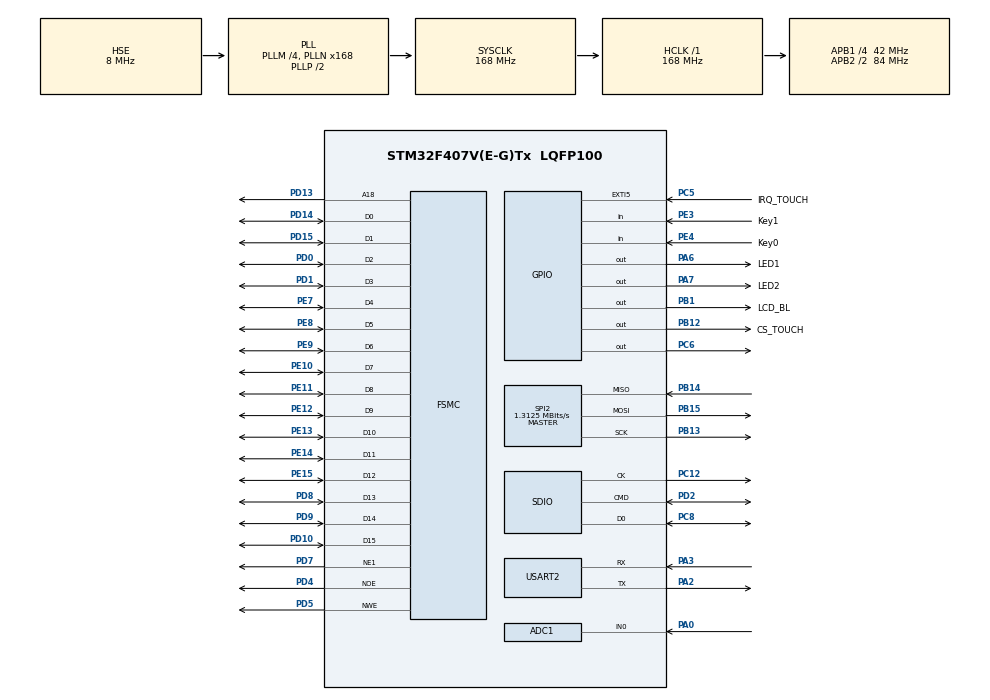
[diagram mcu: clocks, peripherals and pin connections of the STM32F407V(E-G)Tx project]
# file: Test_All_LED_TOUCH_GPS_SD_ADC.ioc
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ADC1.Channel-4\#ChannelRegularConversion=ADC_CHANNEL_0
ADC1.Channel-5\#ChannelRegularConversion=ADC_CHANNEL_TEMPSENSOR
ADC1.ContinuousConvMode=ENABLE
ADC1.NbrOfConversion=2
ADC1.NbrOfConversionFlag=1
ADC1.Rank-4\#ChannelRegularConversion=1
ADC1.Rank-5\#ChannelRegularConversion=2
ADC1.SamplingTime-4\#ChannelRegularConversion=ADC_SAMPLETIME_84CYCLES
ADC1.SamplingTime-5\#ChannelRegularConversion=ADC_SAMPLETIME_84CYCLES
ADC1.master=1
Dma.Request0=SDIO
Dma.SDIO.0.Direction=DMA_PERIPH_TO_MEMORY
Dma.SDIO.0.FIFOMode=DMA_FIFOMODE_ENABLE
Dma.SDIO.0.FIFOThreshold=DMA_FIFO_THRESHOLD_FULL
Dma.SDIO.0.Instance=DMA2_Stream3
Dma.SDIO.0.MemBurst=DMA_MBURST_INC4
Dma.SDIO.0.MemDataAlignment=DMA_MDATAALIGN_WORD
Dma.SDIO.0.MemInc=DMA_MINC_DISABLE
Dma.SDIO.0.Mode=DMA_PFCTRL
Dma.SDIO.0.PeriphBurst=DMA_PBURST_INC4
Dma.SDIO.0.PeriphDataAlignment=DMA_PDATAALIGN_WORD
Dma.SDIO.0.PeriphInc=DMA_PINC_DISABLE
Dma.SDIO.0.Priority=DMA_PRIORITY_HIGH
FATFS._MAX_SS=4096
FSMC.AddressSetupTime1=1
FSMC.BusTurnAroundDuration1=0
FSMC.DataSetupTime1=5
Mcu.Family=STM32F4
Mcu.Name=STM32F407V(E-G)Tx
Mcu.Package=LQFP100
NVIC.DMA2_Stream3_IRQn=true\:0\:0\:false\:false\:true\:false\:true\:true
NVIC.EXTI9_5_IRQn=true\:1\:0\:true\:false\:true\:true\:true\:true
NVIC.PriorityGroup=NVIC_PRIORITYGROUP_4
NVIC.USART2_IRQn=true\:5\:0\:true\:false\:true\:true\:true\:true
PA0-WKUP.Signal=ADCx_IN0
PA13.Mode=Serial_Wire
PA13.Signal=SYS_JTMS-SWDIO
PA14.Mode=Serial_Wire
PA14.Signal=SYS_JTCK-SWCLK
PA2.Mode=Asynchronous
PA2.Signal=USART2_TX
PA3.Mode=Asynchronous
PA3.Signal=USART2_RX
PA6.GPIO_Label=LED1
PA6.GPIO_PuPd=GPIO_PULLUP
PA6.GPIO_Speed=GPIO_SPEED_FREQ_MEDIUM
PA6.PinState=GPIO_PIN_SET
PA6.Signal=GPIO_Output
PA7.GPIO_Label=LED2
PA7.GPIO_PuPd=GPIO_PULLUP
PA7.GPIO_Speed=GPIO_SPEED_FREQ_MEDIUM
PA7.PinState=GPIO_PIN_SET
PA7.Signal=GPIO_Output
PB1.GPIO_Label=LCD_BL
PB1.GPIO_PuPd=GPIO_PULLUP
PB1.Signal=GPIO_Output
PB12.GPIO_Label=CS_TOUCH
PB12.GPIO_PuPd=GPIO_PULLUP
PB12.GPIO_Speed=GPIO_SPEED_FREQ_MEDIUM
PB12.PinState=GPIO_PIN_SET
PB12.Signal=GPIO_Output
PB13.Mode=Full_Duplex_Master
PB13.Signal=SPI2_SCK
PB14.Mode=Full_Duplex_Master
PB14.Signal=SPI2_MISO
PB15.Mode=Full_Duplex_Master
PB15.Signal=SPI2_MOSI
PC10.GPIO_PuPd=GPIO_PULLUP
PC10.Signal=SDIO_D2
PC11.GPIO_PuPd=GPIO_PULLUP
PC11.Signal=SDIO_D3
PC12.Mode=SD_1_bit
PC12.Signal=SDIO_CK
PC14-OSC32_IN.Mode=LSE-External-Oscillator
PC14-OSC32_IN.Signal=RCC_OSC32_IN
PC15-OSC32_OUT.Mode=LSE-External-Oscillator
PC15-OSC32_OUT.Signal=RCC_OSC32_OUT
PC5.GPIO_Label=IRQ_TOUCH
PC5.GPIO_ModeDefaultEXTI=GPIO_MODE_IT_FALLING
PC5.GPIO_PuPd=GPIO_PULLUP
PC5.Signal=GPXTI5
PC6.GPIO_PuPd=GPIO_PULLUP
PC6.GPIO_Speed=GPIO_SPEED_FREQ_MEDIUM
PC6.PinState=GPIO_PIN_SET
PC6.Signal=GPIO_Output
PC8.GPIO_PuPd=GPIO_PULLUP
PC8.Mode=SD_1_bit
PC8.Signal=SDIO_D0
PC9.GPIO_PuPd=GPIO_PULLUP
PC9.Signal=SDIO_D1
PD0.Mode=16b-d1
PD0.Signal=FSMC_D2
PD1.Mode=16b-d1
PD1.Signal=FSMC_D3
PD10.Mode=16b-d1
PD10.Signal=FSMC_D15
PD13.Mode=A18_1
PD13.Signal=FSMC_A18
PD14.Mode=16b-d1
PD14.Signal=FSMC_D0
PD15.Mode=16b-d1
PD15.Signal=FSMC_D1
PD2.GPIO_PuPd=GPIO_PULLUP
PD2.Mode=SD_1_bit
PD2.Signal=SDIO_CMD
PD4.Mode=Lcd1
PD4.Signal=FSMC_NOE
PD5.Mode=Lcd1
PD5.Signal=FSMC_NWE
PD7.Mode=NorPsramChipSelect1_1
PD7.Signal=FSMC_NE1
PD8.Mode=16b-d1
PD8.Signal=FSMC_D13
PD9.Mode=16b-d1
PD9.Signal=FSMC_D14
PE10.Mode=16b-d1
PE10.Signal=FSMC_D7
PE11.Mode=16b-d1
PE11.Signal=FSMC_D8
PE12.Mode=16b-d1
PE12.Signal=FSMC_D9
PE13.Mode=16b-d1
PE13.Signal=FSMC_D10
PE14.Mode=16b-d1
PE14.Signal=FSMC_D11
PE15.Mode=16b-d1
PE15.Signal=FSMC_D12
PE3.GPIO_Label=Key1
PE3.GPIO_PuPd=GPIO_PULLUP
PE3.Signal=GPIO_Input
PE4.GPIO_Label=Key0
PE4.GPIO_PuPd=GPIO_PULLUP
PE4.Signal=GPIO_Input
PE7.Mode=16b-d1
PE7.Signal=FSMC_D4
PE8.Mode=16b-d1
PE8.Signal=FSMC_D5
PE9.Mode=16b-d1
PE9.Signal=FSMC_D6
PH0-OSC_IN.Mode=HSE-External-Oscillator
PH0-OSC_IN.Signal=RCC_OSC_IN
PH1-OSC_OUT.Mode=HSE-External-Oscillator
PH1-OSC_OUT.Signal=RCC_OSC_OUT
ProjectManager.HeapSize=0x200
ProjectManager.StackSize=0x400
ProjectManager.TargetToolchain=STM32CubeIDE
RCC.48MHZClocksFreq_Value=48000000
RCC.AHBFreq_Value=168000000
RCC.APB1CLKDivider=RCC_HCLK_DIV4
RCC.APB1Freq_Value=42000000
RCC.APB1TimFreq_Value=84000000
RCC.APB2CLKDivider=RCC_HCLK_DIV2
RCC.APB2Freq_Value=84000000
RCC.APB2TimFreq_Value=168000000
RCC.CortexFreq_Value=168000000
RCC.HCLKFreq_Value=168000000
RCC.HSE_VALUE=8000000
RCC.HSI_VALUE=16000000
RCC.PLLM=4
RCC.PLLN=168
RCC.PLLQ=7
RCC.PLLSourceVirtual=RCC_PLLSOURCE_HSE
RCC.RCC_RTC_Clock_Source=RCC_RTCCLKSOURCE_LSE
RCC.RCC_RTC_Clock_SourceVirtual=RCC_RTCCLKSOURCE_LSE
RCC.SYSCLKFreq_VALUE=168000000
RCC.SYSCLKSource=RCC_SYSCLKSOURCE_PLLCLK
RCC.VCOOutputFreq_Value=336000000
SDIO.ClockBypass=SDIO_CLOCK_BYPASS_ENABLE
SDIO.ClockDiv=0
SH.ADCx_IN0.0=ADC1_IN0,IN0
SPI2.BaudRatePrescaler=SPI_BAUDRATEPRESCALER_32
SPI2.CalculateBaudRate=1.3125 MBits/s
SPI2.Direction=SPI_DIRECTION_2LINES
SPI2.Mode=SPI_MODE_MASTER
SPI2.VirtualType=VM_MASTER
USART2.VirtualMode=VM_ASYNC
VP_ADC1_TempSens_Input.Mode=IN-TempSens
VP_FATFS_VS_SDIO.Mode=SDIO
VP_RTC_VS_RTC_Activate.Mode=RTC_Enabled
VP_TIM2_VS_ClockSourceINT.Mode=Internal
VP_TIM4_VS_ClockSourceINT.Mode=Internal
board=custom

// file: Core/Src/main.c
/* USER CODE BEGIN Header */
/**
  ******************************************************************************
  * @file           : main.c
  * @brief          : Main program body
  ******************************************************************************
  * @attention
  *
  * Copyright (c) 2024 STMicroelectronics.
  * All rights reserved.
  *
  * This software is licensed under terms that can be found in the LICENSE file
  * in the root directory of this software component.
  * If no LICENSE file comes with this software, it is provided AS-IS.
  *
  ******************************************************************************
  */
/* USER CODE END Header */
#include "main.h"
#include "adc.h"
#include "dma.h"
#include "fatfs.h"
#include "rtc.h"
#include "sdio.h"
#include "spi.h"
#include "tim.h"
#include "usart.h"
#include "gpio.h"
#include "fsmc.h"

/* USER CODE BEGIN Includes */
#include "string.h"
#include "ili9341.h"
#include "XPT2046_touch.h"
#include "colors.h"
#include "GPS.h"
#include "map.h"
/* USER CODE END Includes */

/* USER CODE BEGIN PD */
#define NMEA_BUFFER_SIZE 128
/* USER CODE END PD */

void SystemClock_Config(void);
/* USER CODE BEGIN PFP */
void Print_Vbat_Temp(float Vref);
void Get_Time_For_LCD(void);
void GPS_PrintSatellites(char *sat_str);
void SetTime(void);
uint8_t GetDayOfWeek(uint8_t date, uint8_t month, uint16_t year);
void GPSfoundPrint(void);
/* USER CODE END PFP */

/* USER CODE BEGIN 0 */
uint16_t nmeaIndex = 0;
uint8_t rxByte;
char nmeaBuffer[NMEA_BUFFER_SIZE]; //__attribute__((section (".ccmram")));
volatile bool GPS_UART_flag = 0;
volatile bool messageReady = 0;
volatile bool TP_flag = 0;
uint16_t x = 0, y = 0;

//GPS_Data WorkGpsData;
const char *testGPRMCmessage = "$GPRMC,121030.00,A,5141.78292,N,03909.76459,E,0.087,,140225,,,A*76";
/* USER CODE END 0 */

int main(void)
{

  /* USER CODE BEGIN 1 */
	float Vref = 2.980;			//Vref ADC from your Board
	uint32_t for_adc_time = 0;
	uint32_t for_sat_time = 0;
	uint32_t for_gps_time = 0;
	int ProgStatus = 0;
  /* USER CODE END 1 */

  /* MCU Configuration--------------------------------------------------------*/

  /* Reset of all peripherals, Initializes the Flash interface and the Systick. */
  HAL_Init();

  /* Configure the system clock */
  SystemClock_Config();

  /* USER CODE BEGIN SysInit */
  // __HAL_FLASH_PREFETCH_BUFFER_ENABLE();
   //__HAL_FLASH_INSTRUCTION_CACHE_ENABLE();
  /* USER CODE END SysInit */

  /* Initialize all configured peripherals */
  MX_GPIO_Init();
  MX_DMA_Init();
  MX_ADC1_Init();
  MX_FSMC_Init();
  MX_RTC_Init();
  MX_SDIO_SD_Init();
  MX_SPI2_Init();
  MX_TIM2_Init();
  MX_TIM4_Init();
  MX_FATFS_Init();
  MX_USART2_UART_Init();
  /* USER CODE BEGIN 2 */
  lcdDisplayOn();
  lcdInit();
  /* USER CODE END 2 */

  /* Infinite loop */
  /* USER CODE BEGIN WHILE */
  if (lcdGetControllerID() != 0x9341)  //Check LCD driver and his Model
	  Error_Handler();

  lcdFillRGB(COLOR_WHITE);
  HAL_UART_Receive_IT(&huart2, &rxByte, 1);

  HAL_Delay(1000);						//Delay for GPS_UART receive
  if (!GPS_UART_flag){					//GPS module print status
  	lcdSetTextFont(&Font16);
	lcdSetCursor(10, lcdGetHeight() - lcdGetTextFont()->Height - 180);
	lcdSetTextColor(COLOR_RED, COLOR_WHITE);
	lcdPrintf("GPS module not found!");
    }

  while (1)
  {
    /* USER CODE END WHILE */

    /* USER CODE BEGIN 3 */
	  switch(ProgStatus){
	  case 0:					//Status: GPS not fixed, print: satellites, Vbat, CPU temp, Time, Date

	  if ((HAL_GetTick() - for_adc_time) > 500) {
	  Print_Vbat_Temp(Vref);
	  Get_Time_For_LCD();
  	  for_adc_time = HAL_GetTick();
	  }

	  if ((HAL_GetTick() - for_sat_time) > 2000 && (GPS_UART_flag)) {
	  LCD_PrintSat(' ', '0');
	  for_sat_time = HAL_GetTick();
	  }

	  if (messageReady) {					//NMEA Packet received
          	  messageReady = 0;

          	  if ((strncmp(nmeaBuffer, "$GPRMC", 6) == 0 || strncmp(nmeaBuffer, "$GNRMC", 6) == 0) && strlen(nmeaBuffer) > 60) {	//Check GPRMC packet

	          	  if(GPS_ProcessChar(nmeaBuffer) == 'A') {
	          		  ProgStatus++;
	          		  SetTime();
	          		  GPSfoundPrint();
	          		  HAL_UART_Receive_IT(&huart2, &rxByte, 1);

	          		  break;
	          	  }
          	  }
          	  else if ((strncmp(nmeaBuffer, "$GPGSV", 6) == 0 || strncmp(nmeaBuffer, "$GNGSV", 6) == 0) && (strlen(nmeaBuffer) > 15)) {	//Check GPGSV packet
          	  GPS_PrintSatellites(nmeaBuffer);
          	  for_sat_time = HAL_GetTick();
          	  }
          	HAL_UART_Receive_IT(&huart2, &rxByte, 1);
	  	  }
	  break;

	  case 1:		//Status: GPS found, check GoToMap button push, print: satellites, Vbat, CPU temp, Time, Date

		  if ((HAL_GetTick() - for_adc_time) > 1000) {
		  Print_Vbat_Temp(Vref);
		  Get_Time_For_LCD();
		  for_adc_time = HAL_GetTick();
		  }

		  if (messageReady) {					//NMEA Packet received
		      messageReady = 0;

		      if (strncmp(nmeaBuffer, "$GPRMC", 6) == 0 || strncmp(nmeaBuffer, "$GNRMC", 6) == 0){	//GPRMC Packet received
		    	  ProgStatus--;

		    	  if (strlen(nmeaBuffer) >= 60 && GPS_ProcessChar(nmeaBuffer) == 'A') {
		    	  		  ProgStatus++;
		    	  }
		    	  else lcdFillRGB(COLOR_WHITE);
		      }
		      HAL_UART_Receive_IT(&huart2, &rxByte, 1);
		  }

		  if (TP_flag) {
			  TP_flag = 0;
			  //lcdDrawPixel(x, y, COLOR_GREEN);
		  	  if ((x >= 110) && (x <= 201) && (y >= 100) && (y <= 135))	{	// Check 'GoToMap' button press
		  			  ProgStatus++;
		  			  PrintBigMapFirst();
		  			  PrintCoordinatesPoint(GPS_GetData()->latitude, GPS_GetData()->longitude);
		  			  for_gps_time = HAL_GetTick();
		  			  HAL_UART_Receive_IT(&huart2, &rxByte, 1);
		  	  }
		  }

	  break;

	  case 2:		//Status: Print Map and point coordinates, check GPS loss

		  if (messageReady) {					//NMEA Packet received
		  		  messageReady = 0;
		  		  if ((strncmp(nmeaBuffer, "$GPRMC", 6) == 0 || strncmp(nmeaBuffer, "$GNRMC", 6) == 0) && strlen(nmeaBuffer) > 60) {	//Check GPRMC packet
		  			  if(GPS_ProcessChar(nmeaBuffer) == 'A') {
		  				  PrintBigMap();
		  				  PrintCoordinatesPoint(GPS_GetData()->latitude, GPS_GetData()->longitude);
		  				  for_gps_time = HAL_GetTick();
		  			  }
		  		  }
		  		HAL_UART_Receive_IT(&huart2, &rxByte, 1);
		  }

		  if (HAL_GetTick() - for_gps_time > 2000) {
			  LCD_GPS_lost();
			  for_gps_time = HAL_GetTick();
		  }

	  break;
	  /*тут нужно добавить кейс с алгоритмом переключения изображений карты и алгоритм зуммирования
	  с другими изображениями, но пока не решен вопрос источника таких изображений, с привязкой к координатам*/

	  }
  }
  /* USER CODE END 3 */
}

void SystemClock_Config(void)
{
  RCC_OscInitTypeDef RCC_OscInitStruct = {0};
  RCC_ClkInitTypeDef RCC_ClkInitStruct = {0};

  /** Configure the main internal regulator output voltage
  */
  __HAL_RCC_PWR_CLK_ENABLE();
  __HAL_PWR_VOLTAGESCALING_CONFIG(PWR_REGULATOR_VOLTAGE_SCALE1);

  /** Initializes the RCC Oscillators according to the specified parameters
  * in the RCC_OscInitTypeDef structure.
  */
  RCC_OscInitStruct.OscillatorType = RCC_OSCILLATORTYPE_HSE|RCC_OSCILLATORTYPE_LSE;
  RCC_OscInitStruct.HSEState = RCC_HSE_ON;
  RCC_OscInitStruct.LSEState = RCC_LSE_ON;
  RCC_OscInitStruct.PLL.PLLState = RCC_PLL_ON;
  RCC_OscInitStruct.PLL.PLLSource = RCC_PLLSOURCE_HSE;
  RCC_OscInitStruct.PLL.PLLM = 4;
  RCC_OscInitStruct.PLL.PLLN = 168;
  RCC_OscInitStruct.PLL.PLLP = RCC_PLLP_DIV2;
  RCC_OscInitStruct.PLL.PLLQ = 7;
  if (HAL_RCC_OscConfig(&RCC_OscInitStruct) != HAL_OK)
  {
    Error_Handler();
  }

  /** Initializes the CPU, AHB and APB buses clocks
  */
  RCC_ClkInitStruct.ClockType = RCC_CLOCKTYPE_HCLK|RCC_CLOCKTYPE_SYSCLK
                              |RCC_CLOCKTYPE_PCLK1|RCC_CLOCKTYPE_PCLK2;
  RCC_ClkInitStruct.SYSCLKSource = RCC_SYSCLKSOURCE_PLLCLK;
  RCC_ClkInitStruct.AHBCLKDivider = RCC_SYSCLK_DIV1;
  RCC_ClkInitStruct.APB1CLKDivider = RCC_HCLK_DIV4;
  RCC_ClkInitStruct.APB2CLKDivider = RCC_HCLK_DIV2;

  if (HAL_RCC_ClockConfig(&RCC_ClkInitStruct, FLASH_LATENCY_5) != HAL_OK)
  {
    Error_Handler();
  }
}

/* USER CODE BEGIN 4 */
void Print_Vbat_Temp(float Vref)
{
	uint16_t adcValue;
	uint16_t adc2Value;
	HAL_ADC_Start(&hadc1);
	HAL_ADC_PollForConversion(&hadc1, HAL_MAX_DELAY);
	adcValue = HAL_ADC_GetValue(&hadc1);
	HAL_ADC_PollForConversion(&hadc1, HAL_MAX_DELAY);
	adc2Value = HAL_ADC_GetValue(&hadc1);
	HAL_ADC_Stop(&hadc1);
	LCD_PrintVbat((float)adcValue / 4095 * Vref);  //Vref=3.1 -> 6.2 because Vbat/2 for ADC, if source is Vbat
	LCD_PrintCPU_t(((float)adc2Value / 4095 * Vref * 1000 - 760.0) / 2.5 + 25);	//Vref=3.1 3100
}

void SetTime(void)				//Load Time and Date to RTC
{
	RTC_TimeTypeDef sTime;
	RTC_DateTypeDef sDate;
	sTime.Hours = GPS_GetData()->hour;
	sTime.Minutes = GPS_GetData()->minutes;
	sTime.Seconds = GPS_GetData()->seconds;
	if (sTime.Hours > 23)
		return;
	if (sTime.Minutes > 59)
		return;
	if (sTime.Seconds > 59)
		return;
	HAL_RTC_SetTime(&hrtc, &sTime, FORMAT_BIN);
	sDate.Date = GPS_GetData()->date;
	sDate.Month = GPS_GetData()->month;
	sDate.Year = GPS_GetData()->year;
	if (sDate.Date > 31)
		return;
	if (sDate.Month > 12)
		return;
	sDate.WeekDay = GetDayOfWeek(sDate.Date, sDate.Month, (2000 + sDate.Year));
	HAL_RTC_SetDate(&hrtc, &sDate, FORMAT_BIN);
}

uint8_t GetDayOfWeek(uint8_t date, uint8_t month, uint16_t year)
{
    if (month < 3) {
        month += 12;
        year--;
    }
    uint8_t k = year % 100;
    uint8_t j = year / 100;
    uint8_t h = (date + ((13 * (month + 1)) / 5) + k + (k / 4) + (j / 4) - (2 * j)) % 7;	//Zeller's algorithm
    uint8_t rtcWeekDay = ((h + 5) % 7) + 1;	//conversion to RTC format

    return rtcWeekDay;
}

void Get_Time_For_LCD(void)
{
	RTC_TimeTypeDef sTime;
	RTC_DateTypeDef sDate;
	HAL_RTC_GetTime(&hrtc, &sTime, FORMAT_BIN);
	HAL_RTC_GetDate(&hrtc, &sDate, FORMAT_BIN);
	LCD_PrintTime(sTime);
	LCD_PrintDate(sDate);
}

void GPS_PrintSatellites(char *sat_str)
{
	char *p;
	int count = 0;
	while((p = strchr(sat_str, ',')) != NULL) {

	if(count == 2) {
		LCD_PrintSat(*(p+1), *(p+2));
		return;
	}
	sat_str = p + 1;
	count++;
	}

}

void GPSfoundPrint()
{
  lcdSetTextFont(&Font24);
  lcdSetCursor(80, lcdGetHeight() - lcdGetTextFont()->Height - 150);
  lcdSetTextColor(COLOR_RED, COLOR_WHITE);
  lcdPrintf("%s", "GPS Found");
  lcdDrawImage(110, 100, &bmGoToMap);
}

void HAL_UART_RxCpltCallback(UART_HandleTypeDef *huart)
{
    if (huart->Instance == USART2) {
        if (rxByte == '$') {
            // Start NMEA packet
            nmeaIndex = 0;
        }
        if (nmeaIndex < NMEA_BUFFER_SIZE) {
            nmeaBuffer[nmeaIndex++] = rxByte;

            // Check end of message (\r\n)
            if (rxByte == '\n' && nmeaIndex > 1 && nmeaBuffer[nmeaIndex-2] == '\r') {
                messageReady = 1;
                GPS_UART_flag = 1;
  		        nmeaIndex = 0;
            	  if (HAL_GPIO_ReadPin(Key1_GPIO_Port, Key1_Pin) == 0) {		//Test "GPRMC" packet parsing if key1 is pressed
            		  strcpy(nmeaBuffer, testGPRMCmessage);
            	  }
                return;
            }
        }
        HAL_UART_Receive_IT(&huart2, &rxByte, 1);
    }
}

void HAL_GPIO_EXTI_Callback(uint16_t GPIO_Pin)
{
	 if (GPIO_Pin == IRQ_TOUCH_Pin) {
	  if(XPT2046_TouchPressed() && XPT2046_TouchGetCoordinates(&x, &y)) {
	   TP_flag = 1;   // Tap flag
	  }
	}
}
/* USER CODE END 4 */

void Error_Handler(void)
{
  /* USER CODE BEGIN Error_Handler_Debug */
  /* User can add his own implementation to report the HAL error return state */
  __disable_irq();
  HAL_GPIO_WritePin(LED1_GPIO_Port, LED1_Pin, GPIO_PIN_RESET);
  while (1)
  {
  }
  /* USER CODE END Error_Handler_Debug */
}
